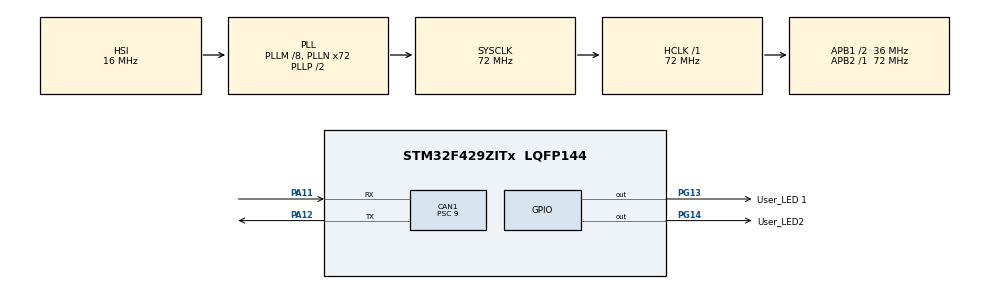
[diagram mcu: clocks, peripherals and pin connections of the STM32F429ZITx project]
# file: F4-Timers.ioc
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CAN1.BS1=CAN_BS1_13TQ
CAN1.BS2=CAN_BS2_2TQ
CAN1.CalculateTimeQuantum=250.0
CAN1.Mode=CAN_MODE_LOOPBACK
CAN1.Prescaler=9
Mcu.Family=STM32F4
Mcu.Name=STM32F429ZITx
Mcu.Package=LQFP144
NVIC.CAN1_RX0_IRQn=true\:0\:0\:false\:false\:true\:true\:true
NVIC.PriorityGroup=NVIC_PRIORITYGROUP_4
NVIC.TIM4_IRQn=true\:1\:0\:true\:false\:true\:true\:true
PA11.Mode=Master
PA11.Signal=CAN1_RX
PA12.Mode=Master
PA12.Signal=CAN1_TX
PC14/OSC32_IN.Mode=LSE-External-Oscillator
PC14/OSC32_IN.Signal=RCC_OSC32_IN
PC15/OSC32_OUT.Mode=LSE-External-Oscillator
PC15/OSC32_OUT.Signal=RCC_OSC32_OUT
PG13.GPIO_Label=User_LED 1
PG13.Signal=GPIO_Output
PG14.GPIO_Label=User_LED2
PG14.Signal=GPIO_Output
PH0/OSC_IN.Mode=HSE-External-Oscillator
PH0/OSC_IN.Signal=RCC_OSC_IN
PH1/OSC_OUT.Mode=HSE-External-Oscillator
PH1/OSC_OUT.Signal=RCC_OSC_OUT
ProjectManager.HeapSize=0x200
ProjectManager.StackSize=0x400
ProjectManager.TargetToolchain=MDK-ARM V5
RCC.48MHZClocksFreq_Value=48000000
RCC.AHBFreq_Value=72000000
RCC.APB1CLKDivider=RCC_HCLK_DIV2
RCC.APB1Freq_Value=36000000
RCC.APB1TimFreq_Value=72000000
RCC.APB2Freq_Value=72000000
RCC.APB2TimFreq_Value=72000000
RCC.CortexFreq_Value=72000000
RCC.HCLKFreq_Value=72000000
RCC.HSE_VALUE=8000000
RCC.HSI_VALUE=16000000
RCC.PLLM=8
RCC.PLLN=72
RCC.PLLQ=3
RCC.PLLSAIN=50
RCC.SYSCLKFreq_VALUE=72000000
RCC.SYSCLKSource=RCC_SYSCLKSOURCE_PLLCLK
RCC.VCOOutputFreq_Value=144000000
TIM4.Period=800
TIM4.Prescaler=35999
TIM4.TIM_MasterOutputTrigger=TIM_TRGO_UPDATE
VP_TIM4_VS_ClockSourceINT.Mode=Internal
board=STM32F429I-DISC1

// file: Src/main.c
/* USER CODE BEGIN Header */
/**
  ******************************************************************************
  * @file           : main.c
  * @brief          : Main program body
  ******************************************************************************
  * @attention
  *
  * <h2><center>&copy; Copyright (c) 2019 STMicroelectronics.
  * All rights reserved.</center></h2>
  *
  * This software component is licensed by ST under BSD 3-Clause license,
  * the "License"; You may not use this file except in compliance with the
  * License. You may obtain a copy of the License at:
  *                        opensource.org/licenses/BSD-3-Clause
  *
  ******************************************************************************
  */
/* USER CODE END Header */

#include "main.h"

/* USER CODE BEGIN Includes */
#include "stdlib.h"
/* USER CODE END Includes */

CAN_HandleTypeDef hcan1;

TIM_HandleTypeDef htim4;

/* USER CODE BEGIN PV */
CAN_FilterTypeDef sFilterConfig;
CAN_TxHeaderTypeDef   TxHeader;
uint8_t               TxData[8];
uint32_t              TxMailbox;

/* USER CODE END PV */

void SystemClock_Config(void);
static void MX_GPIO_Init(void);
static void MX_TIM4_Init(void);
static void MX_CAN1_Init(void);

int main(void)
{

  /* MCU Configuration--------------------------------------------------------*/

  /* Reset of all peripherals, Initializes the Flash interface and the Systick. */
  HAL_Init();

  /* Configure the system clock */
  SystemClock_Config();

  /* Initialize all configured peripherals */
  MX_GPIO_Init();
  MX_TIM4_Init();
  MX_CAN1_Init();
  /* USER CODE BEGIN 2 */
	if (HAL_TIM_Base_Start_IT(&htim4)!= HAL_OK)
	{
		Error_Handler();
	}
  /* USER CODE END 2 */

  /* Infinite loop */
  while (1)
  {
	TxHeader.StdId = rand() % 0xFF;
	TxHeader.RTR = CAN_RTR_DATA;
	TxHeader.IDE = CAN_ID_STD;
	TxHeader.DLC = rand() % 9;
	TxHeader.TransmitGlobalTime = DISABLE;

	for(int i=0;i<TxHeader.DLC;i++)
	{
		TxData[i] = rand() % 0xFF;
	}

  }
}

void SystemClock_Config(void)
{
  RCC_OscInitTypeDef RCC_OscInitStruct = {0};
  RCC_ClkInitTypeDef RCC_ClkInitStruct = {0};

  /** Configure the main internal regulator output voltage
  */
  __HAL_RCC_PWR_CLK_ENABLE();
  __HAL_PWR_VOLTAGESCALING_CONFIG(PWR_REGULATOR_VOLTAGE_SCALE3);
  /** Initializes the CPU, AHB and APB busses clocks
  */
  RCC_OscInitStruct.OscillatorType = RCC_OSCILLATORTYPE_HSI;
  RCC_OscInitStruct.HSIState = RCC_HSI_ON;
  RCC_OscInitStruct.HSICalibrationValue = RCC_HSICALIBRATION_DEFAULT;
  RCC_OscInitStruct.PLL.PLLState = RCC_PLL_ON;
  RCC_OscInitStruct.PLL.PLLSource = RCC_PLLSOURCE_HSI;
  RCC_OscInitStruct.PLL.PLLM = 8;
  RCC_OscInitStruct.PLL.PLLN = 72;
  RCC_OscInitStruct.PLL.PLLP = RCC_PLLP_DIV2;
  RCC_OscInitStruct.PLL.PLLQ = 3;
  if (HAL_RCC_OscConfig(&RCC_OscInitStruct) != HAL_OK)
  {
    Error_Handler();
  }
  /** Initializes the CPU, AHB and APB busses clocks
  */
  RCC_ClkInitStruct.ClockType = RCC_CLOCKTYPE_HCLK|RCC_CLOCKTYPE_SYSCLK
                              |RCC_CLOCKTYPE_PCLK1|RCC_CLOCKTYPE_PCLK2;
  RCC_ClkInitStruct.SYSCLKSource = RCC_SYSCLKSOURCE_PLLCLK;
  RCC_ClkInitStruct.AHBCLKDivider = RCC_SYSCLK_DIV1;
  RCC_ClkInitStruct.APB1CLKDivider = RCC_HCLK_DIV2;
  RCC_ClkInitStruct.APB2CLKDivider = RCC_HCLK_DIV1;

  if (HAL_RCC_ClockConfig(&RCC_ClkInitStruct, FLASH_LATENCY_2) != HAL_OK)
  {
    Error_Handler();
  }
}

static void MX_CAN1_Init(void)
{

  hcan1.Instance = CAN1;
  hcan1.Init.Prescaler = 4;
  hcan1.Init.Mode = CAN_MODE_NORMAL;
  hcan1.Init.SyncJumpWidth = CAN_SJW_1TQ;
  hcan1.Init.TimeSeg1 = CAN_BS1_15TQ;
  hcan1.Init.TimeSeg2 = CAN_BS2_2TQ;
  hcan1.Init.TimeTriggeredMode = DISABLE;
  hcan1.Init.AutoBusOff = DISABLE;
  hcan1.Init.AutoWakeUp = DISABLE;
  hcan1.Init.AutoRetransmission = DISABLE;
  hcan1.Init.ReceiveFifoLocked = DISABLE;
  hcan1.Init.TransmitFifoPriority = DISABLE;
  if (HAL_CAN_Init(&hcan1) != HAL_OK)
  {
    Error_Handler();
  }
  /* USER CODE BEGIN CAN1_Init 2 */
	/*##-2- Configure the CAN Filter ###########################################*/
	sFilterConfig.FilterBank = 0;
	sFilterConfig.FilterMode = CAN_FILTERMODE_IDMASK;
	sFilterConfig.FilterScale = CAN_FILTERSCALE_32BIT;
	sFilterConfig.FilterIdHigh = 0x0000;
	sFilterConfig.FilterIdLow = 0x0000;
	sFilterConfig.FilterMaskIdHigh = 0x0000;
	sFilterConfig.FilterMaskIdLow = 0x0000;
	sFilterConfig.FilterFIFOAssignment = CAN_RX_FIFO0;
	sFilterConfig.FilterActivation = ENABLE;
	sFilterConfig.SlaveStartFilterBank = 14;

	if (HAL_CAN_ConfigFilter(&hcan1, &sFilterConfig) != HAL_OK)
	{
		/* Filter configuration Error */
		Error_Handler();
	}

	/*##-3- Start the CAN peripheral ###########################################*/
	if (HAL_CAN_Start(&hcan1) != HAL_OK)
	{
		/* Start Error */
		Error_Handler();
	}

  /* USER CODE END CAN1_Init 2 */

}

static void MX_TIM4_Init(void)
{

  TIM_ClockConfigTypeDef sClockSourceConfig = {0};
  TIM_MasterConfigTypeDef sMasterConfig = {0};

  htim4.Instance = TIM4;
  htim4.Init.Prescaler = 35999;
  htim4.Init.CounterMode = TIM_COUNTERMODE_UP;
  htim4.Init.Period = 2000;   // [val]/2 ~ time in ms
  htim4.Init.ClockDivision = TIM_CLOCKDIVISION_DIV1;
  htim4.Init.AutoReloadPreload = TIM_AUTORELOAD_PRELOAD_DISABLE;
  if (HAL_TIM_Base_Init(&htim4) != HAL_OK)
  {
    Error_Handler();
  }
  sClockSourceConfig.ClockSource = TIM_CLOCKSOURCE_INTERNAL;
  if (HAL_TIM_ConfigClockSource(&htim4, &sClockSourceConfig) != HAL_OK)
  {
    Error_Handler();
  }
  sMasterConfig.MasterOutputTrigger = TIM_TRGO_UPDATE;
  sMasterConfig.MasterSlaveMode = TIM_MASTERSLAVEMODE_DISABLE;
  if (HAL_TIMEx_MasterConfigSynchronization(&htim4, &sMasterConfig) != HAL_OK)
  {
    Error_Handler();
  }

}

static void MX_GPIO_Init(void)
{
  GPIO_InitTypeDef GPIO_InitStruct = {0};

  /* GPIO Ports Clock Enable */
  __HAL_RCC_GPIOC_CLK_ENABLE();
  __HAL_RCC_GPIOH_CLK_ENABLE();
  __HAL_RCC_GPIOA_CLK_ENABLE();
  __HAL_RCC_GPIOG_CLK_ENABLE();

  /*Configure GPIO pin Output Level */
  HAL_GPIO_WritePin(GPIOG, User_LED_1_Pin|User_LED2_Pin, GPIO_PIN_RESET);

  /*Configure GPIO pins : User_LED_1_Pin User_LED2_Pin */
  GPIO_InitStruct.Pin = User_LED_1_Pin|User_LED2_Pin;
  GPIO_InitStruct.Mode = GPIO_MODE_OUTPUT_PP;
  GPIO_InitStruct.Pull = GPIO_NOPULL;
  GPIO_InitStruct.Speed = GPIO_SPEED_FREQ_LOW;
  HAL_GPIO_Init(GPIOG, &GPIO_InitStruct);

}

void Error_Handler(void)
{
}

/************************ (C) COPYRIGHT STMicroelectronics *****END OF FILE****/
